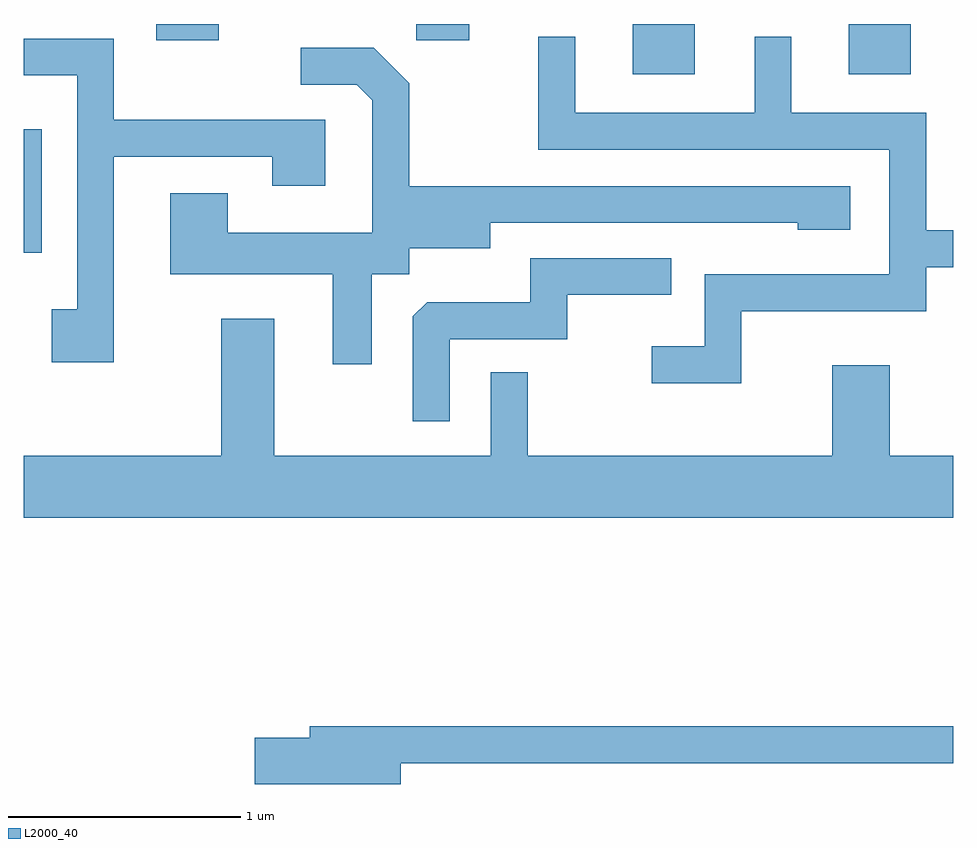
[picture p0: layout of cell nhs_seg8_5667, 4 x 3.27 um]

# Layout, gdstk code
import gdstk
lib = gdstk.Library(unit=1e-6, precision=1e-09)
def R(c, l, rs):  # rectangles x0, y0, x1, y1
    for r in rs: c.add(gdstk.rectangle(r[:2], r[2:], *l))
def P(c, l, *ps):  # polygons
    for p in ps: c.add(gdstk.Polygon(p, *l))
L2000_40 = (2000, 40)

nhs_seg8_5667 = lib.new_cell('nhs_seg8_5667')
R(nhs_seg8_5667, L2000_40, [(355.611,1815.358,355.689,1815.889), (358.231,1816.126,358.499,1816.342), (359.161,1816.126,359.429,1816.342), (356.181,1816.271,356.449,1816.342), (357.301,1816.271,357.529,1816.342)])
P(nhs_seg8_5667, L2000_40, [(358.699,1815.106),(359.494,1815.106),(359.494,1815.296),(359.611,1815.296),(359.611,1815.454),(359.494,1815.454),(359.494,1815.959),(358.914,1815.959),(358.914,1816.288),(358.756,1816.288),(358.756,1815.959),(357.984,1815.959),(357.984,1816.288),(357.826,1816.288),(357.826,1815.801),(359.336,1815.801),(359.336,1815.264),(358.541,1815.264),(358.541,1814.954),(358.313,1814.954),(358.313,1814.796),(358.699,1814.796)],
  [(355.999,1815.771),(356.681,1815.771),(356.681,1815.646),(356.909,1815.646),(356.909,1815.929),(355.999,1815.929),(355.999,1816.279),(355.611,1816.279),(355.611,1816.121),(355.841,1816.121),(355.841,1815.114),(355.731,1815.114),(355.731,1814.886),(355.999,1814.886)],
  [(357.109,1815.266),(357.269,1815.266),(357.269,1815.376),(357.619,1815.376),(357.619,1815.486),(358.941,1815.486),(358.941,1815.456),(359.169,1815.456),(359.169,1815.644),(357.269,1815.644),(357.269,1816.087),(357.117,1816.239),(356.803,1816.239),(356.803,1816.081),(357.044,1816.081),(357.111,1816.014),(357.111,1815.444),(356.489,1815.444),(356.489,1815.614),(356.241,1815.614),(356.241,1815.266),(356.941,1815.266),(356.941,1814.878),(357.109,1814.878)],
  [(357.444,1814.986),(357.949,1814.986),(357.949,1815.176),(358.398,1815.176),(358.398,1815.334),(357.791,1815.334),(357.791,1815.144),(357.347,1815.144),(357.286,1815.084),(357.286,1814.633),(357.444,1814.633)],
  [(359.611,1814.484),(359.339,1814.484),(359.339,1814.874),(359.091,1814.874),(359.091,1814.484),(357.779,1814.484),(357.779,1814.843),(357.621,1814.843),(357.621,1814.484),(356.689,1814.484),(356.689,1815.074),(356.461,1815.074),(356.461,1814.484),(355.611,1814.484),(355.611,1814.216),(359.611,1814.216)],
  [(357.234,1813.161),(359.611,1813.161),(359.611,1813.319),(356.841,1813.319),(356.841,1813.269),(356.606,1813.269),(356.606,1813.071),(357.234,1813.071)])

lib.write_gds('nhs_seg8_5667.gds')
